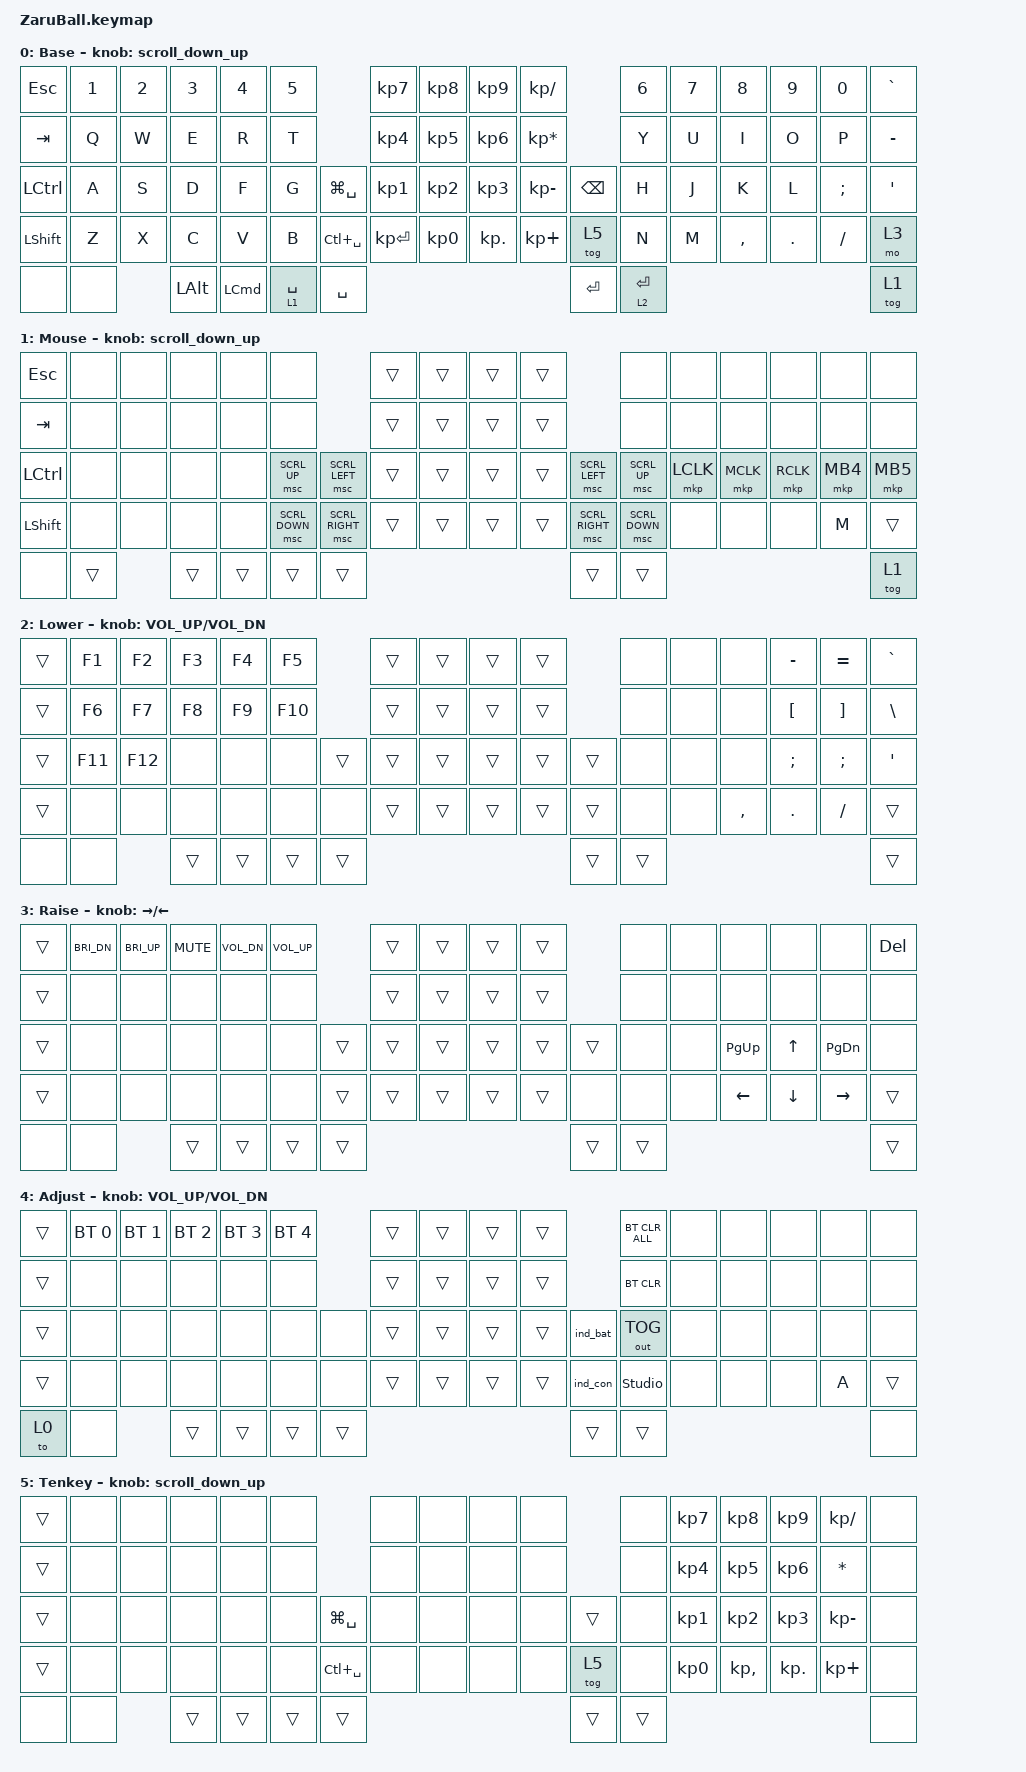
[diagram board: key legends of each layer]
#include <dt-bindings/zmk/mouse.h>
#include <behaviors/rgbled_widget.dtsi>
#include <input/processors.dtsi>
#include <dt-bindings/zmk/input_transform.h>
#include <behaviors.dtsi>
#include <dt-bindings/zmk/bt.h>
#include <dt-bindings/zmk/keys.h>
#include <dt-bindings/zmk/outputs.h>
#include <dt-bindings/zmk/pointing.h>

#define BASE     0
#define MOUSE    1
#define LOWER    2
#define RAISE    3
#define ADJUST   4
#define SCROLL   3

// スクロール量の設定

#define ZMK_POINTING_DEFAULT_SCRL_VAL 100

&trackball_listener {
    input-processors = <&zip_xy_scaler 0 1>;

    scroller {
        layers = <SCROLL>;
        input-processors = <
            &zip_xy_transform (INPUT_TRANSFORM_XY_SWAP | INPUT_TRANSFORM_X_INVERT)
            &zip_xy_scaler 1 20
            &zip_xy_to_scroll_mapper
        >;
    };

    mouse_movement {
        layers = <MOUSE>;
        input-processors = <
            &zip_xy_transform (INPUT_TRANSFORM_XY_SWAP | INPUT_TRANSFORM_Y_INVERT | INPUT_TRANSFORM_X_INVERT)
            /* トグル運用のため、AML相当の一時レイヤー遷移は無効化 */
        >;
    };
};

/ {
    conditional_layers {
        compatible = "zmk,conditional-layers";

        tri_layer {
            if-layers = <2 3>;
            then-layer = <4>;
        };
    };
};

/ {
    behaviors {
        // スクロール用のbehaviorの設定

        scroll_down_up: behavior_sensor_rotate_mouse_wheel_down_up {
            compatible = "zmk,behavior-sensor-rotate";
            #sensor-binding-cells = <0>;
            bindings = <&msc SCRL_DOWN>, <&msc SCRL_UP>;

            tap-ms = <20>;
        };

        td0: tap_dance_0 {
            compatible = "zmk,behavior-tap-dance";
            #binding-cells = <0>;
            tapping-term-ms = <200>;
            bindings = <&mt LALT LANG2>, <&mo 3>, <&mo 2>;
        };

        td1: tap_dance_1 {
            compatible = "zmk,behavior-tap-dance";
            #binding-cells = <0>;
            tapping-term-ms = <200>;
            bindings = <&mt RCTL LANG1>, <&mo 3>, <&mo 2>;
        };

        SandS: SandS {
            compatible = "zmk,behavior-hold-tap";
            #binding-cells = <2>;
            flavor = "tap-unless-interrupted";
            tapping-term-ms = <500>;
            quick-tap-ms = <500>;
            bindings = <&kp>, <&kp>;

            display-name = "SandS";
        };
    };
};

/ {
    keymap {
        compatible = "zmk,keymap";

        base_layer {
            display-name = "Base";
            sensor-bindings = <&scroll_down_up>;
            bindings = <
&kp ESC    &kp N1  &kp N2  &kp N3    &kp N4            &kp N5                        &kp KP_N7     &kp KP_N8  &kp KP_N9   &kp KP_DIVIDE                     &kp NUMBER_6  &kp N7  &kp N8     &kp N9   &kp N0    &kp GRAVE
&kp TAB    &kp Q   &kp W   &kp E     &kp R             &kp T                         &kp KP_N4     &kp KP_N5  &kp KP_N6   &kp KP_MULTIPLY                   &kp Y         &kp U   &kp I      &kp O    &kp P     &kp MINUS
&kp LCTRL  &kp A   &kp S   &kp D     &kp F             &kp G        &kp LG(SPACE)    &kp KP_N1     &kp KP_N2  &kp KP_N3   &kp KP_MINUS       &kp BACKSPACE  &kp H         &kp J   &kp K      &kp L    &kp SEMI  &kp SQT
&kp LSHFT  &kp Z   &kp X   &kp C     &kp V             &kp B        &kp LC(SPACE)    &kp KP_ENTER  &kp KP_N0  &kp KP_DOT  &kp KP_PLUS        &tog 5         &kp N         &kp M   &kp COMMA  &kp DOT  &kp FSLH  &mo 3
&none      &none           &kp LALT  &kp LEFT_COMMAND  &lt 1 SPACE  &kp SPACE                                                                &kp ENTER      &lt 2 ENTER                                         &tog 1
            >;
        };

        mouse_layer {
            display-name = "Mouse";
            sensor-bindings = <&scroll_down_up>;
            bindings = <
&kp ESC    &none   &none  &none   &none   &none                              &trans  &trans  &trans  &trans                     &none           &none      &none      &none      &none     &none
&kp TAB    &none   &none  &none   &none   &none                              &trans  &trans  &trans  &trans                     &none           &none      &none      &none      &none     &none
&kp LCTRL  &none   &none  &none   &none   &msc SCRL_UP    &msc SCRL_LEFT     &trans  &trans  &trans  &trans    &msc SCRL_LEFT   &msc SCRL_UP    &mkp LCLK  &mkp MCLK  &mkp RCLK  &mkp MB4  &mkp MB5
&kp LSHFT  &none   &none  &none   &none   &msc SCRL_DOWN  &msc SCRL_RIGHT    &trans  &trans  &trans  &trans    &msc SCRL_RIGHT  &msc SCRL_DOWN  &none      &none      &none      &kp M     &trans
&none      &trans         &trans  &trans  &trans          &trans                                               &trans           &trans                                                     &tog 1
            >;
        };

        lower_layer {
            display-name = "Lower";
            sensor-bindings = <&inc_dec_kp C_VOL_UP C_VOL_DN>;
            bindings = <
&trans  &kp F1   &kp F2   &kp F3  &kp F4  &kp F5             &trans  &trans  &trans  &trans            &none   &none  &none      &kp MINUS         &kp EQUAL          &kp GRAVE
&trans  &kp F6   &kp F7   &kp F8  &kp F9  &kp F10            &trans  &trans  &trans  &trans            &none   &none  &none      &kp LEFT_BRACKET  &kp RIGHT_BRACKET  &kp BACKSLASH
&trans  &kp F11  &kp F12  &none   &none   &none    &trans    &trans  &trans  &trans  &trans    &trans  &none   &none  &none      &kp SEMICOLON     &kp SEMICOLON      &kp SQT
&trans  &none    &none    &none   &none   &none    &none     &trans  &trans  &trans  &trans    &trans  &none   &none  &kp COMMA  &kp PERIOD        &kp SLASH          &trans
&none   &none             &trans  &trans  &trans   &trans                                      &trans  &trans                                                         &trans
            >;
        };

        raise_layer {
            display-name = "Raise";
            sensor-bindings = <&inc_dec_kp RIGHT LEFT>;
            bindings = <
&trans  &kp C_BRI_DN  &kp C_BRI_UP  &kp C_MUTE  &kp C_VOL_DN  &kp C_VOL_UP            &trans  &trans  &trans  &trans            &none   &none  &none      &none     &none          &kp DEL
&trans  &none         &none         &none       &none         &none                   &trans  &trans  &trans  &trans            &none   &none  &none      &none     &none          &none
&trans  &none         &none         &none       &none         &none         &trans    &trans  &trans  &trans  &trans    &trans  &none   &none  &kp PG_UP  &kp UP    &kp PAGE_DOWN  &none
&trans  &none         &none         &none       &none         &none         &trans    &trans  &trans  &trans  &trans    &none   &none   &none  &kp LEFT   &kp DOWN  &kp RIGHT      &trans
&none   &none                       &trans      &trans        &trans        &trans                                      &trans  &trans                                             &trans
            >;
        };

        adjust_layer {
            display-name = "Adjust";
            sensor-bindings = <&inc_dec_kp C_VOL_UP C_VOL_DN>;
            bindings = <
&trans  &bt BT_SEL 0  &bt BT_SEL 1  &bt BT_SEL 2  &bt BT_SEL 3  &bt BT_SEL 4            &trans  &trans  &trans  &trans              &bt BT_CLR_ALL  &none  &none  &none  &none  &none
&trans  &none         &none         &none         &none         &none                   &trans  &trans  &trans  &trans              &bt BT_CLR      &none  &none  &none  &none  &none
&trans  &none         &none         &none         &none         &none         &none     &trans  &trans  &trans  &trans    &ind_bat  &out OUT_TOG    &none  &none  &none  &none  &none
&trans  &none         &none         &none         &none         &none         &none     &trans  &trans  &trans  &trans    &ind_con  &studio_unlock  &none  &none  &none  &kp A  &trans
&to 0   &none                       &trans        &trans        &trans        &trans                                      &trans    &trans                                      &none
            >;
        };

        extra1 {
            display-name = "Tenkey";
            sensor-bindings = <&scroll_down_up>;
            bindings = <
&trans  &none  &none  &none   &none   &none                    &none  &none  &none  &none            &none   &kp KP_NUMBER_7  &kp KP_NUMBER_8  &kp KP_NUMBER_9  &kp KP_DIVIDE  &none
&trans  &none  &none  &none   &none   &none                    &none  &none  &none  &none            &none   &kp KP_NUMBER_4  &kp KP_NUMBER_5  &kp KP_N6        &kp ASTERISK   &none
&trans  &none  &none  &none   &none   &none   &kp LG(SPACE)    &none  &none  &none  &none    &trans  &none   &kp KP_NUMBER_1  &kp KP_NUMBER_2  &kp KP_NUMBER_3  &kp KP_MINUS   &none
&trans  &none  &none  &none   &none   &none   &kp LC(SPACE)    &none  &none  &none  &none    &tog 5  &none   &kp KP_NUMBER_0  &kp KP_COMMA     &kp KP_DOT       &kp KP_PLUS    &none
&none   &none         &trans  &trans  &trans  &trans                                         &trans  &trans                                                                    &none
            >;
        };

        extra2 { status = "reserved"; };
    };
};
